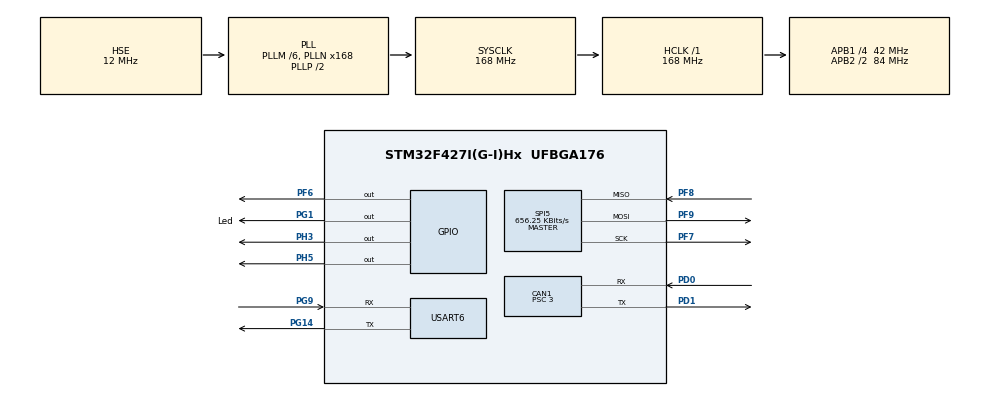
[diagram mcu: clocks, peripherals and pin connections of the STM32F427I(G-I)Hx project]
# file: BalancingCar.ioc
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CAN1.BS1=CAN_BS1_10TQ
CAN1.BS2=CAN_BS2_3TQ
CAN1.CalculateTimeQuantum=71.42857142857143
CAN1.Prescaler=3
Dma.Request0=USART6_RX
Dma.Request1=USART6_TX
Dma.USART6_RX.0.Direction=DMA_PERIPH_TO_MEMORY
Dma.USART6_RX.0.FIFOMode=DMA_FIFOMODE_DISABLE
Dma.USART6_RX.0.Instance=DMA2_Stream1
Dma.USART6_RX.0.MemDataAlignment=DMA_MDATAALIGN_BYTE
Dma.USART6_RX.0.MemInc=DMA_MINC_ENABLE
Dma.USART6_RX.0.Mode=DMA_NORMAL
Dma.USART6_RX.0.PeriphDataAlignment=DMA_PDATAALIGN_BYTE
Dma.USART6_RX.0.PeriphInc=DMA_PINC_DISABLE
Dma.USART6_RX.0.Priority=DMA_PRIORITY_VERY_HIGH
Dma.USART6_TX.1.Direction=DMA_MEMORY_TO_PERIPH
Dma.USART6_TX.1.FIFOMode=DMA_FIFOMODE_DISABLE
Dma.USART6_TX.1.Instance=DMA2_Stream6
Dma.USART6_TX.1.MemDataAlignment=DMA_MDATAALIGN_BYTE
Dma.USART6_TX.1.MemInc=DMA_MINC_ENABLE
Dma.USART6_TX.1.Mode=DMA_NORMAL
Dma.USART6_TX.1.PeriphDataAlignment=DMA_PDATAALIGN_BYTE
Dma.USART6_TX.1.PeriphInc=DMA_PINC_DISABLE
Dma.USART6_TX.1.Priority=DMA_PRIORITY_HIGH
Mcu.Family=STM32F4
Mcu.Name=STM32F427I(G-I)Hx
Mcu.Package=UFBGA176
NVIC.CAN1_RX0_IRQn=true\:0\:0\:false\:false\:true\:true\:true
NVIC.DMA2_Stream1_IRQn=true\:0\:0\:false\:false\:true\:false\:true
NVIC.DMA2_Stream6_IRQn=true\:0\:0\:false\:false\:true\:false\:true
NVIC.PriorityGroup=NVIC_PRIORITYGROUP_4
NVIC.TIM6_DAC_IRQn=true\:0\:0\:false\:false\:true\:true\:true
NVIC.TIM8_CC_IRQn=true\:0\:0\:false\:false\:true\:true\:true
NVIC.USART6_IRQn=true\:0\:0\:false\:false\:true\:true\:true
PA13.Mode=Serial_Wire
PA13.Signal=SYS_JTMS-SWDIO
PA14.Mode=Serial_Wire
PA14.Signal=SYS_JTCK-SWCLK
PD0.Mode=Master
PD0.Signal=CAN1_RX
PD1.Mode=Master
PD1.Signal=CAN1_TX
PF6.Signal=GPIO_Output
PF7.Mode=Full_Duplex_Master
PF7.Signal=SPI5_SCK
PF8.Mode=Full_Duplex_Master
PF8.Signal=SPI5_MISO
PF9.Mode=Full_Duplex_Master
PF9.Signal=SPI5_MOSI
PG1.GPIO_Label=Led
PG1.Signal=GPIO_Output
PG14.Mode=Asynchronous
PG14.Signal=USART6_TX
PG9.Mode=Asynchronous
PG9.Signal=USART6_RX
PH0/OSC_IN.Mode=HSE-External-Oscillator
PH0/OSC_IN.Signal=RCC_OSC_IN
PH1/OSC_OUT.Mode=HSE-External-Oscillator
PH1/OSC_OUT.Signal=RCC_OSC_OUT
PH3.PinState=GPIO_PIN_SET
PH3.Signal=GPIO_Output
PH5.PinState=GPIO_PIN_SET
PH5.Signal=GPIO_Output
ProjectManager.HeapSize=0x200
ProjectManager.StackSize=0x400
ProjectManager.TargetToolchain=MDK-ARM V5.27
RCC.48MHZClocksFreq_Value=84000000
RCC.AHBFreq_Value=168000000
RCC.APB1CLKDivider=RCC_HCLK_DIV4
RCC.APB1Freq_Value=42000000
RCC.APB1TimFreq_Value=84000000
RCC.APB2CLKDivider=RCC_HCLK_DIV2
RCC.APB2Freq_Value=84000000
RCC.APB2TimFreq_Value=168000000
RCC.CortexFreq_Value=168000000
RCC.HCLKFreq_Value=168000000
RCC.HSE_VALUE=12000000
RCC.HSI_VALUE=16000000
RCC.LSE_VALUE=32768
RCC.PLLM=6
RCC.PLLN=168
RCC.PLLSourceVirtual=RCC_PLLSOURCE_HSE
RCC.SYSCLKFreq_VALUE=168000000
RCC.SYSCLKSource=RCC_SYSCLKSOURCE_PLLCLK
RCC.VCOOutputFreq_Value=336000000
SPI5.BaudRatePrescaler=SPI_BAUDRATEPRESCALER_128
SPI5.CLKPhase=SPI_PHASE_2EDGE
SPI5.CLKPolarity=SPI_POLARITY_HIGH
SPI5.CalculateBaudRate=656.25 KBits/s
SPI5.Direction=SPI_DIRECTION_2LINES
SPI5.Mode=SPI_MODE_MASTER
SPI5.VirtualType=VM_MASTER
TIM6.Period=999
TIM6.Prescaler=839
USART6.VirtualMode=VM_ASYNC
VP_TIM6_VS_ClockSourceINT.Mode=Enable_Timer
VP_TIM8_VS_ClockSourceINT.Mode=Internal
board=custom

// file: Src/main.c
/* USER CODE BEGIN Header */
/**
  ******************************************************************************
  * @file           : main.c
  * @brief          : Main program body
  ******************************************************************************
  * @attention
  *
  * <h2><center>&copy; Copyright (c) 2023 STMicroelectronics.
  * All rights reserved.</center></h2>
  *
  * This software component is licensed by ST under BSD 3-Clause license,
  * the "License"; You may not use this file except in compliance with the
  * License. You may obtain a copy of the License at:
  *                        opensource.org/licenses/BSD-3-Clause
  *
  ******************************************************************************
  */
/* USER CODE END Header */

#include "main.h"
#include "can.h"
#include "dma.h"
#include "spi.h"
#include "tim.h"
#include "usart.h"
#include "gpio.h"

/* USER CODE BEGIN Includes */
#include "bsp_can.h"
#include "mpu6500_driver.h"
#include "CAN_receive.h"
#include "pid.h"
#include "BlueTooth.h"
/* USER CODE END Includes */

void SystemClock_Config(void);

/* USER CODE BEGIN 0 */
uint32_t opt = 0;
uint16_t a=0;
/* USER CODE END 0 */

int main(void)
{

  /* MCU Configuration--------------------------------------------------------*/

  /* Reset of all peripherals, Initializes the Flash interface and the Systick. */
  HAL_Init();

  /* Configure the system clock */
  SystemClock_Config();

  /* Initialize all configured peripherals */
  MX_GPIO_Init();
  MX_DMA_Init();
  MX_CAN1_Init();
  MX_SPI5_Init();
  MX_TIM6_Init();
  MX_TIM8_Init();
  MX_USART6_UART_Init();
  /* USER CODE BEGIN 2 */
  HAL_TIM_Base_Start_IT(&htim6);
  BlueTooth_init();
  can_filter_init();
  mpu_device_init();    //初始化mpu6500
  init_quaternion();    //初始化四元数
  extern pid_t Pid_bal, Pid_spe;
  extern t_receive receive_measure;      //储存接收数据
  pid_param_init(&Pid_bal, POSITION_PID, 6000, 2000, 50, 0, 0.1);
  pid_param_init(&Pid_spe, POSITION_PID, 10, 5, 0.005, 0.01, 0);
  Pid_spe.low_pass_coe = 0.7;
  Pid_bal.max_err = 30;
  /* USER CODE END 2 */

  /* Infinite loop */
  while (1)
  {

    /* USER CODE BEGIN 3 */
		//CAN_cmd_chassis(opt , opt);
    mpu_get_data();
    imu_ahrs_update();
    imu_attitude_update();
    if(receive_measure.Switch == 1)
    {
			opt++;
      HAL_TIM_Base_Start_IT(&htim6);
    }
    else
    {
			a++;
      HAL_TIM_Base_Stop_IT(&htim6);
    }
  }
  /* USER CODE END 3 */
}

void SystemClock_Config(void)
{
  RCC_OscInitTypeDef RCC_OscInitStruct = {0};
  RCC_ClkInitTypeDef RCC_ClkInitStruct = {0};

  /** Configure the main internal regulator output voltage
  */
  __HAL_RCC_PWR_CLK_ENABLE();
  __HAL_PWR_VOLTAGESCALING_CONFIG(PWR_REGULATOR_VOLTAGE_SCALE1);
  /** Initializes the CPU, AHB and APB busses clocks
  */
  RCC_OscInitStruct.OscillatorType = RCC_OSCILLATORTYPE_HSE;
  RCC_OscInitStruct.HSEState = RCC_HSE_ON;
  RCC_OscInitStruct.PLL.PLLState = RCC_PLL_ON;
  RCC_OscInitStruct.PLL.PLLSource = RCC_PLLSOURCE_HSE;
  RCC_OscInitStruct.PLL.PLLM = 6;
  RCC_OscInitStruct.PLL.PLLN = 168;
  RCC_OscInitStruct.PLL.PLLP = RCC_PLLP_DIV2;
  RCC_OscInitStruct.PLL.PLLQ = 4;
  if (HAL_RCC_OscConfig(&RCC_OscInitStruct) != HAL_OK)
  {
    Error_Handler();
  }
  /** Initializes the CPU, AHB and APB busses clocks
  */
  RCC_ClkInitStruct.ClockType = RCC_CLOCKTYPE_HCLK|RCC_CLOCKTYPE_SYSCLK
                              |RCC_CLOCKTYPE_PCLK1|RCC_CLOCKTYPE_PCLK2;
  RCC_ClkInitStruct.SYSCLKSource = RCC_SYSCLKSOURCE_PLLCLK;
  RCC_ClkInitStruct.AHBCLKDivider = RCC_SYSCLK_DIV1;
  RCC_ClkInitStruct.APB1CLKDivider = RCC_HCLK_DIV4;
  RCC_ClkInitStruct.APB2CLKDivider = RCC_HCLK_DIV2;

  if (HAL_RCC_ClockConfig(&RCC_ClkInitStruct, FLASH_LATENCY_5) != HAL_OK)
  {
    Error_Handler();
  }
}

void Error_Handler(void)
{
}

/************************ (C) COPYRIGHT STMicroelectronics *****END OF FILE****/
